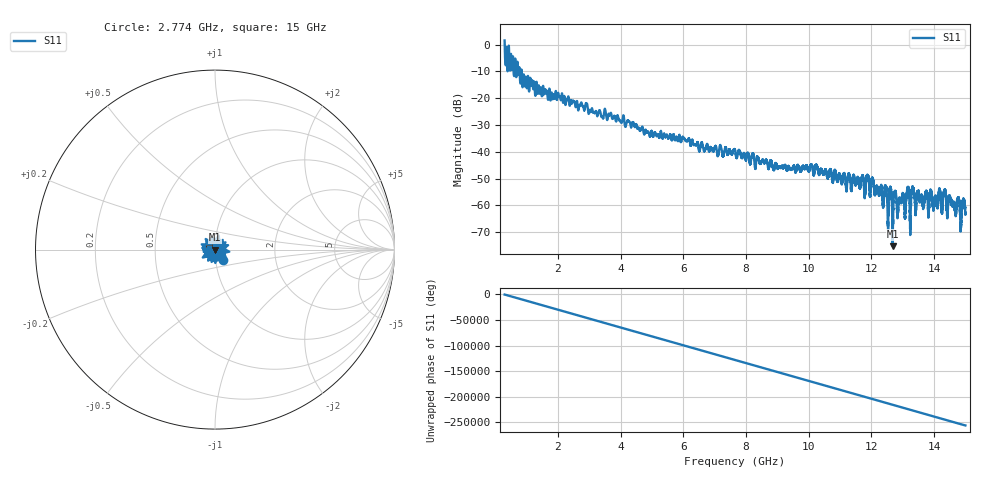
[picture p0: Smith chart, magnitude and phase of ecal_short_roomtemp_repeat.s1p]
# GHZ S RI R 50.0
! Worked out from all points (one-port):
!   12801 points, 300 MHz to 15 GHz, reference 50 ohm
!   lowest |S11| = -75.3 dB at 12.68 GHz (marker M1), VSWR 1.00, Z = 50 - j0.0109 ohm
!   |S11| at or under -10 dB: 585.6 MHz to 619.8 MHz (34.17 MHz wide, 5.67 % of centre); 776.9 MHz to 831.5 MHz (54.51 MHz wide, 6.78 % of centre); 843.4 MHz to end of sweep (the widest 3 of 5)
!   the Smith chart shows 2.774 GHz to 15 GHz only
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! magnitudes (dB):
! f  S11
! 300 MHz  1.6
! 402.2 MHz  -9.2
! 702 MHz  -7.1
! 935.1 MHz  -15.0
! 2.138 GHz  -18.7
! 3.975 GHz  -28.4
! 4.982 GHz  -32.3
! 5.812 GHz  -35.5
! 7.65 GHz  -39.3
! 9.488 GHz  -46.2
! 10.25 GHz  -45.1
! 11.32 GHz  -50.5
! 11.88 GHz  -48.6
! 12.68 GHz  -75.3
! 12.78 GHz  -55.4
! 12.88 GHz  -58.0
! 12.95 GHz  -59.1
! 13.04 GHz  -58.1
! 13.16 GHz  -53.5
! 13.28 GHz  -55.9
! 13.33 GHz  -53.6
! 13.61 GHz  -57.0
! 13.92 GHz  -55.5
! 14.04 GHz  -57.1
! 14.34 GHz  -54.6
! 14.64 GHz  -59.5
! 14.76 GHz  -58.4
! 15 GHz  -63.4
